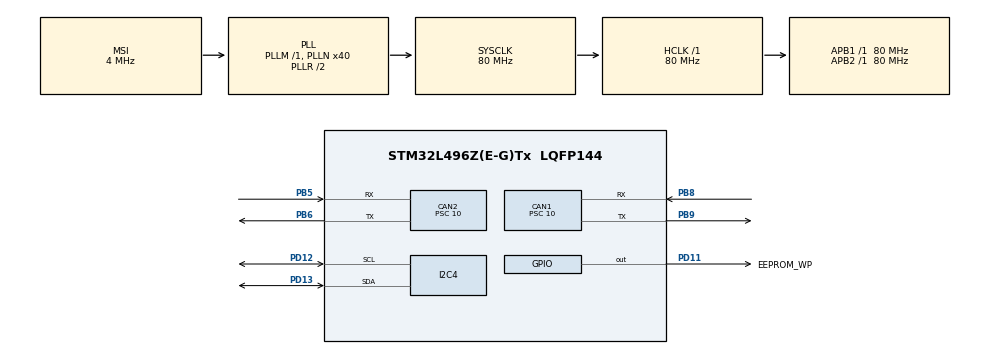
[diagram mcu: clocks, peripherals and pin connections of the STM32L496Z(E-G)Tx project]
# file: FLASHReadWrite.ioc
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CAN1.BS1=CAN_BS1_11TQ
CAN1.BS2=CAN_BS2_4TQ
CAN1.CalculateBaudRate=500000
CAN1.CalculateTimeBit=2000
CAN1.CalculateTimeQuantum=125.0
CAN1.Prescaler=10
CAN2.BS1=CAN_BS1_11TQ
CAN2.BS2=CAN_BS2_4TQ
CAN2.CalculateBaudRate=500000
CAN2.CalculateTimeBit=2000
CAN2.CalculateTimeQuantum=125.0
CAN2.Prescaler=10
I2C4.I2C_Fall_Time=0
I2C4.I2C_Rise_Time=0
I2C4.Timing=0x10909CEC
Mcu.Family=STM32L4
Mcu.Name=STM32L496Z(E-G)Tx
Mcu.Package=LQFP144
NVIC.CAN1_RX0_IRQn=true\:0\:0\:false\:false\:true\:true\:true\:true
NVIC.CAN2_RX0_IRQn=true\:0\:0\:false\:false\:true\:true\:true\:true
NVIC.PriorityGroup=NVIC_PRIORITYGROUP_4
PA13\ (JTMS/SWDIO).Mode=Serial_Wire
PA13\ (JTMS/SWDIO).Signal=SYS_JTMS-SWDIO
PA14\ (JTCK/SWCLK).Mode=Serial_Wire
PA14\ (JTCK/SWCLK).Signal=SYS_JTCK-SWCLK
PB5.Mode=CAN_Activate
PB5.Signal=CAN2_RX
PB6.Mode=CAN_Activate
PB6.Signal=CAN2_TX
PB8.Mode=CAN_Activate
PB8.Signal=CAN1_RX
PB9.Mode=CAN_Activate
PB9.Signal=CAN1_TX
PD11.GPIO_Label=EEPROM_WP
PD11.Signal=GPIO_Output
PD12.Mode=I2C
PD12.Signal=I2C4_SCL
PD13.Mode=I2C
PD13.Signal=I2C4_SDA
PE13.Signal=SPI1_SCK
PE14.Signal=SPI1_MISO
PE15.Signal=SPI1_MOSI
ProjectManager.HeapSize=0x200
ProjectManager.StackSize=0x400
ProjectManager.TargetToolchain=STM32CubeIDE
RCC.AHBFreq_Value=80000000
RCC.APB1Freq_Value=80000000
RCC.APB1TimFreq_Value=80000000
RCC.APB2Freq_Value=80000000
RCC.APB2TimFreq_Value=80000000
RCC.CortexFreq_Value=80000000
RCC.HCLKFreq_Value=80000000
RCC.HSE_VALUE=8000000
RCC.HSI48_VALUE=48000000
RCC.HSI_VALUE=16000000
RCC.LSE_VALUE=32768
RCC.MSI_VALUE=4000000
RCC.PLLN=40
RCC.SYSCLKFreq_VALUE=80000000
RCC.SYSCLKSource=RCC_SYSCLKSOURCE_PLLCLK
RCC.VCOOutputFreq_Value=160000000
board=custom

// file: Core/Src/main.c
/* USER CODE BEGIN Header */
/**
 ******************************************************************************
 * @file           : main.c
 * @brief          : Main program body
 ******************************************************************************
 * @attention
 *
 * Copyright (c) 2025 STMicroelectronics.
 * All rights reserved.
 *
 * This software is licensed under terms that can be found in the LICENSE file
 * in the root directory of this software component.
 * If no LICENSE file comes with this software, it is provided AS-IS.
 *
 ******************************************************************************
 */
/* USER CODE END Header */
#include "main.h"

/* USER CODE BEGIN Includes */

#include "EEPROM.h"
#include "CanFactory.h"
#include <stdio.h>
#include <math.h>

/* USER CODE END Includes */

/* USER CODE BEGIN PD */
#define DATA_TYPE_UINT  0
#define DATA_TYPE_INT   1
#define DATA_TYPE_FLOAT 2
/* USER CODE END PD */

CAN_HandleTypeDef hcan1;
CAN_HandleTypeDef hcan2;

I2C_HandleTypeDef hi2c4;

void SystemClock_Config(void);
static void MX_GPIO_Init(void);
static void MX_I2C4_Init(void);
static void MX_CAN1_Init(void);
static void MX_CAN2_Init(void);

/* USER CODE BEGIN 0 */

CAN_RxHeaderTypeDef RxHeader;
CanPayload RxData;

void HAL_CAN_RxFifo0MsgPendingCallback(CAN_HandleTypeDef *hcan) {
	if (HAL_CAN_GetRxMessage(hcan, CAN_RX_FIFO0, &RxHeader, RxData.bytes)
			!= HAL_OK) {
		return;
		//Error_Handler();
	}
}

CAN_RxHeaderTypeDef TxHeader;
CanPayload TxData;
uint32_t TxMailbox;

void SendCanBusMsgBus1(CanMessage canMessage) {
	TxHeader.DLC = canMessage.DLC;
	TxHeader.IDE = canMessage.IDE;
	TxHeader.RTR = canMessage.RTR;
	TxHeader.StdId = canMessage.id;
	HAL_CAN_AddTxMessage(&hcan2, &TxHeader, canMessage.data.bytes, &TxMailbox);
	//CAN1_Error_Code = hcan1.ErrorCode;
}

/* USER CODE END 0 */

int main(void) {

	/* MCU Configuration--------------------------------------------------------*/

	/* Reset of all peripherals, Initializes the Flash interface and the Systick. */
	HAL_Init();

	/* Configure the system clock */
	SystemClock_Config();

	/* Initialize all configured peripherals */
	MX_GPIO_Init();
	MX_I2C4_Init();
	MX_CAN1_Init();
	MX_CAN2_Init();
	/* USER CODE BEGIN 2 */

	if (HAL_CAN_Start(&hcan1) != HAL_OK) {
		Error_Handler();
	}
	if (HAL_CAN_Start(&hcan2) != HAL_OK) {
		Error_Handler();
	}
	// activate the notification
	if (HAL_CAN_ActivateNotification(&hcan1, CAN_IT_RX_FIFO0_MSG_PENDING)
			!= HAL_OK) {
		Error_Handler();
	}
	if (HAL_CAN_ActivateNotification(&hcan2, CAN_IT_RX_FIFO0_MSG_PENDING)
			!= HAL_OK) {
		Error_Handler();
	}
	parameter testParams[3];
	testParams[0].id = 1;
	testParams[0].dataType = DATA_TYPE_FLOAT;
	testParams[0].value.Float = 123.45f;

	testParams[1].id = 2;
	testParams[1].dataType = DATA_TYPE_INT;
	testParams[1].value.Int = -42;

	testParams[2].id = 3;
	testParams[2].dataType = DATA_TYPE_UINT;
	testParams[2].value.uInt = 1000;

	EEPROM_Write_Parameter_Array(0, 0, testParams, 3);

	parameter readParams[3];
	EEPROM_Read_Parameter_Array(0, 0, readParams, 3);

	uint8_t success = 1;
	for (int i = 0; i < 3; i++) {
		if (readParams[i].id != testParams[i].id) {
			success = 0;
			break;
		}

		if (readParams[i].dataType != testParams[i].dataType) {
			success = 0;
			break;
		}

		switch (readParams[i].dataType) {
		case DATA_TYPE_FLOAT:
			if (fabs(readParams[i].value.Float - testParams[i].value.Float)
					> 0.0001) {
				success = 0;
			}
			break;
		case DATA_TYPE_INT:
			if (readParams[i].value.Int != testParams[i].value.Int) {
				success = 0;
			}
			break;
		case DATA_TYPE_UINT:
			if (readParams[i].value.uInt != testParams[i].value.uInt) {
				success = 0;
			}
			break;
		default:
			success = 0;
			break;
		}

		if (!success) {
			break;
		}
	}

	if (success) {
		printf("Parameters match!");
	} else {
		printf("Parameters don't match!");
	}

	/* USER CODE END 2 */

	/* Infinite loop */
	while (1) {

		/* USER CODE BEGIN 3 */
		CanMessage message = CreateSendAIRConfirmationToDash(0);
		SendCanBusMsgBus1(message);
		HAL_Delay(500);

	}
	/* USER CODE END 3 */
}

void SystemClock_Config(void) {
	RCC_OscInitTypeDef RCC_OscInitStruct = { 0 };
	RCC_ClkInitTypeDef RCC_ClkInitStruct = { 0 };

	/** Configure the main internal regulator output voltage
	 */
	if (HAL_PWREx_ControlVoltageScaling(PWR_REGULATOR_VOLTAGE_SCALE1)
			!= HAL_OK) {
		Error_Handler();
	}

	/** Initializes the RCC Oscillators according to the specified parameters
	 * in the RCC_OscInitTypeDef structure.
	 */
	RCC_OscInitStruct.OscillatorType = RCC_OSCILLATORTYPE_MSI;
	RCC_OscInitStruct.MSIState = RCC_MSI_ON;
	RCC_OscInitStruct.MSICalibrationValue = 0;
	RCC_OscInitStruct.MSIClockRange = RCC_MSIRANGE_6;
	RCC_OscInitStruct.PLL.PLLState = RCC_PLL_ON;
	RCC_OscInitStruct.PLL.PLLSource = RCC_PLLSOURCE_MSI;
	RCC_OscInitStruct.PLL.PLLM = 1;
	RCC_OscInitStruct.PLL.PLLN = 40;
	RCC_OscInitStruct.PLL.PLLP = RCC_PLLP_DIV2;
	RCC_OscInitStruct.PLL.PLLQ = RCC_PLLQ_DIV2;
	RCC_OscInitStruct.PLL.PLLR = RCC_PLLR_DIV2;
	if (HAL_RCC_OscConfig(&RCC_OscInitStruct) != HAL_OK) {
		Error_Handler();
	}

	/** Initializes the CPU, AHB and APB buses clocks
	 */
	RCC_ClkInitStruct.ClockType = RCC_CLOCKTYPE_HCLK | RCC_CLOCKTYPE_SYSCLK
			| RCC_CLOCKTYPE_PCLK1 | RCC_CLOCKTYPE_PCLK2;
	RCC_ClkInitStruct.SYSCLKSource = RCC_SYSCLKSOURCE_PLLCLK;
	RCC_ClkInitStruct.AHBCLKDivider = RCC_SYSCLK_DIV1;
	RCC_ClkInitStruct.APB1CLKDivider = RCC_HCLK_DIV1;
	RCC_ClkInitStruct.APB2CLKDivider = RCC_HCLK_DIV1;

	if (HAL_RCC_ClockConfig(&RCC_ClkInitStruct, FLASH_LATENCY_4) != HAL_OK) {
		Error_Handler();
	}
}

static void MX_CAN1_Init(void) {

	hcan1.Instance = CAN1;
	hcan1.Init.Prescaler = 10;
	hcan1.Init.Mode = CAN_MODE_NORMAL;
	hcan1.Init.SyncJumpWidth = CAN_SJW_1TQ;
	hcan1.Init.TimeSeg1 = CAN_BS1_11TQ;
	hcan1.Init.TimeSeg2 = CAN_BS2_4TQ;
	hcan1.Init.TimeTriggeredMode = DISABLE;
	hcan1.Init.AutoBusOff = DISABLE;
	hcan1.Init.AutoWakeUp = DISABLE;
	hcan1.Init.AutoRetransmission = DISABLE;
	hcan1.Init.ReceiveFifoLocked = DISABLE;
	hcan1.Init.TransmitFifoPriority = DISABLE;
	if (HAL_CAN_Init(&hcan1) != HAL_OK) {
		Error_Handler();
	}
	/* USER CODE BEGIN CAN1_Init 2 */

	CAN_FilterTypeDef canfilterconfig;

	canfilterconfig.FilterActivation = CAN_FILTER_ENABLE;
	canfilterconfig.FilterBank = 8; // which filter bank to use from the assigned ones
	canfilterconfig.FilterFIFOAssignment = CAN_FILTER_FIFO0;
	canfilterconfig.FilterIdHigh = 0x446 << 5;
	canfilterconfig.FilterIdLow = 0;
	canfilterconfig.FilterMaskIdHigh = 0x000 << 5;
	canfilterconfig.FilterMaskIdLow = 0x0000;
	canfilterconfig.FilterMode = CAN_FILTERMODE_IDMASK;
	canfilterconfig.FilterScale = CAN_FILTERSCALE_32BIT;
	canfilterconfig.SlaveStartFilterBank = 10; // how many filters to assign to the CAN1 (master can)

	HAL_CAN_ConfigFilter(&hcan1, &canfilterconfig);

	/* USER CODE END CAN1_Init 2 */

}

static void MX_CAN2_Init(void) {

	hcan2.Instance = CAN2;
	hcan2.Init.Prescaler = 10;
	hcan2.Init.Mode = CAN_MODE_NORMAL;
	hcan2.Init.SyncJumpWidth = CAN_SJW_1TQ;
	hcan2.Init.TimeSeg1 = CAN_BS1_11TQ;
	hcan2.Init.TimeSeg2 = CAN_BS2_4TQ;
	hcan2.Init.TimeTriggeredMode = DISABLE;
	hcan2.Init.AutoBusOff = DISABLE;
	hcan2.Init.AutoWakeUp = DISABLE;
	hcan2.Init.AutoRetransmission = DISABLE;
	hcan2.Init.ReceiveFifoLocked = DISABLE;
	hcan2.Init.TransmitFifoPriority = DISABLE;
	if (HAL_CAN_Init(&hcan2) != HAL_OK) {
		Error_Handler();
	}
	/* USER CODE BEGIN CAN2_Init 2 */

	CAN_FilterTypeDef canfilterconfig;

	canfilterconfig.FilterActivation = CAN_FILTER_ENABLE;
	canfilterconfig.FilterBank = 8; // which filter bank to use from the assigned ones
	canfilterconfig.FilterFIFOAssignment = CAN_FILTER_FIFO0;
	canfilterconfig.FilterIdHigh = 0x446 << 5;
	canfilterconfig.FilterIdLow = 0;
	canfilterconfig.FilterMaskIdHigh = 0x000 << 5;
	canfilterconfig.FilterMaskIdLow = 0x0000;
	canfilterconfig.FilterMode = CAN_FILTERMODE_IDMASK;
	canfilterconfig.FilterScale = CAN_FILTERSCALE_32BIT;
	canfilterconfig.SlaveStartFilterBank = 10; // how many filters to assign to the CAN1 (master can)

	HAL_CAN_ConfigFilter(&hcan2, &canfilterconfig);

	/* USER CODE END CAN2_Init 2 */

}

static void MX_I2C4_Init(void) {

	hi2c4.Instance = I2C4;
	hi2c4.Init.Timing = 0x10909CEC;
	hi2c4.Init.OwnAddress1 = 0;
	hi2c4.Init.AddressingMode = I2C_ADDRESSINGMODE_7BIT;
	hi2c4.Init.DualAddressMode = I2C_DUALADDRESS_DISABLE;
	hi2c4.Init.OwnAddress2 = 0;
	hi2c4.Init.OwnAddress2Masks = I2C_OA2_NOMASK;
	hi2c4.Init.GeneralCallMode = I2C_GENERALCALL_DISABLE;
	hi2c4.Init.NoStretchMode = I2C_NOSTRETCH_DISABLE;
	if (HAL_I2C_Init(&hi2c4) != HAL_OK) {
		Error_Handler();
	}

	/** Configure Analogue filter
	 */
	if (HAL_I2CEx_ConfigAnalogFilter(&hi2c4, I2C_ANALOGFILTER_ENABLE)
			!= HAL_OK) {
		Error_Handler();
	}

	/** Configure Digital filter
	 */
	if (HAL_I2CEx_ConfigDigitalFilter(&hi2c4, 0) != HAL_OK) {
		Error_Handler();
	}

}

static void MX_GPIO_Init(void) {
	GPIO_InitTypeDef GPIO_InitStruct = { 0 };

	/* GPIO Ports Clock Enable */
	__HAL_RCC_GPIOE_CLK_ENABLE();
	__HAL_RCC_GPIOD_CLK_ENABLE();
	__HAL_RCC_GPIOA_CLK_ENABLE();
	__HAL_RCC_GPIOB_CLK_ENABLE();

	/*Configure GPIO pin Output Level */
	HAL_GPIO_WritePin(EEPROM_WP_GPIO_Port, EEPROM_WP_Pin, GPIO_PIN_RESET);

	/*Configure GPIO pins : PE13 PE14 PE15 */
	GPIO_InitStruct.Pin = GPIO_PIN_13 | GPIO_PIN_14 | GPIO_PIN_15;
	GPIO_InitStruct.Mode = GPIO_MODE_AF_PP;
	GPIO_InitStruct.Pull = GPIO_NOPULL;
	GPIO_InitStruct.Speed = GPIO_SPEED_FREQ_VERY_HIGH;
	GPIO_InitStruct.Alternate = GPIO_AF5_SPI1;
	HAL_GPIO_Init(GPIOE, &GPIO_InitStruct);

	/*Configure GPIO pin : EEPROM_WP_Pin */
	GPIO_InitStruct.Pin = EEPROM_WP_Pin;
	GPIO_InitStruct.Mode = GPIO_MODE_OUTPUT_PP;
	GPIO_InitStruct.Pull = GPIO_NOPULL;
	GPIO_InitStruct.Speed = GPIO_SPEED_FREQ_LOW;
	HAL_GPIO_Init(EEPROM_WP_GPIO_Port, &GPIO_InitStruct);

}

void Error_Handler(void) {
	__disable_irq();
	while (1) {
	}
}
